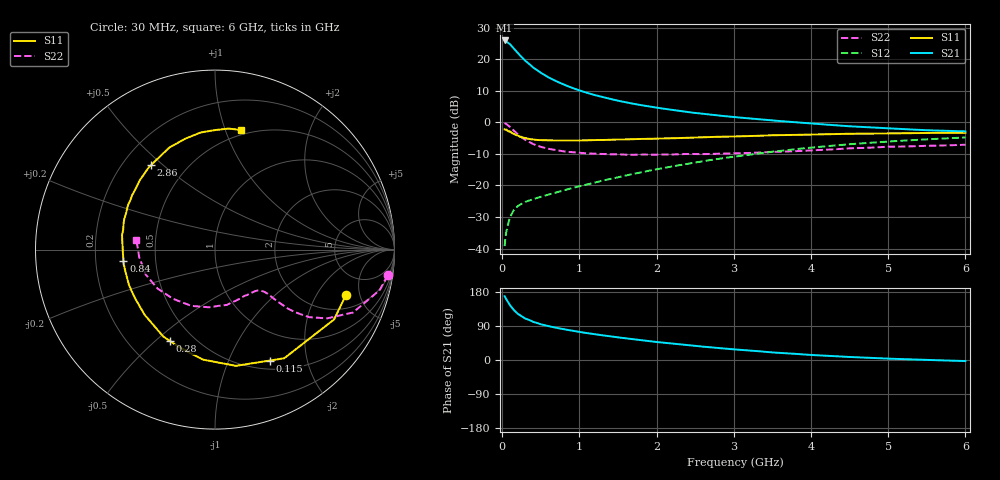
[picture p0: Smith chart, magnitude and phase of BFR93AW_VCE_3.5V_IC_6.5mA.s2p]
! Infineon Technologies  Discrete & RF Semiconductors
! BFR93AW
! VCE =  3.5 V,  IC =  6.5 mA
! Common Emitter S-Parameters:  Nov 2015
# GHz  S  MA  R  50
!  f  S11  S21  S12  S22
! GHz  MAG  ANG  MAG  ANG  MAG  ANG  MAG  ANG
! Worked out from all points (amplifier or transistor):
!   206 points, 30 MHz to 6 GHz, reference 50 ohm
!   highest |S21| = 25.9 dB at 30 MHz (marker M1)
!   |S21| within 3 dB of that: start of sweep to 165.6 MHz
!   unconditionally stable (mu >= 1): 868.1 MHz to 2.295 GHz
!   at 200 MHz: K = 0.37, MSG = 24.3 dB, |S12| = -26.6 dB
!   at 1.56 GHz: K = 1.08, MAG = 10.0 dB, |S12| = -17.1 dB
!   at 6 GHz: K = 0.93, MSG = 1.0 dB, |S12| = -4.8 dB
!   S11 on the Smith chart (normalised r, x): 30 MHz: 2.93, -3.69; 115 MHz: 0.61, -1.43; 280 MHz: 0.37, -0.56; 840 MHz: 0.32, -0.05; 2.86 GHz: 0.32, +0.46; 6 GHz: 0.46, +1.13
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0.03  0.7723 -19.2  19.76 168.3  0.0109 79.9  0.9725 -8.4
0.05  0.7692 -30.4  19.38 160.5  0.0179 75.3  0.9459 -13.7
0.055  0.7569 -32.9  19.1 159.0  0.0192 73.5  0.9345 -14.7
0.1  0.7179 -57.5  17.26 144.1  0.0312 64.2  0.8453 -24.5
0.115  0.6893 -63.7  16.41 140.7  0.0339 61.4  0.8109 -26.3
0.15  0.6581 -79.8  14.7 131.3  0.0407 56.4  0.7347 -31.4
0.2  0.6166 -96.3  12.55 122.1  0.047 51.4  0.647 -35.6
0.24  0.584 -107.2  11.1 116.4  0.0503 49.3  0.5894 -37.3
0.28  0.5674 -116.5  9.921 111.6  0.0534 48.2  0.5446 -38.5
0.3  0.5634 -120.8  9.381 109.2  0.055 47.9  0.5243 -39.0
0.4  0.5343 -137.3  7.368 100.7  0.0606 47.6  0.4516 -39.7
0.5  0.5212 -149.0  6.069 94.2  0.066 48.9  0.4065 -39.9
0.6  0.5185 -157.5  5.128 89.2  0.0716 50.8  0.3797 -40.0
0.84  0.5141 -173.2  3.764 79.6  0.0863 55.4  0.3413 -42.1
1.04  0.5157 177.4  3.08 72.8  0.0996 58.5  0.3258 -44.8
1.5  0.5332 161.5  2.192 59.7  0.1344 62.8  0.3105 -54.4
2.02  0.5526 146.6  1.687 47.1  0.1821 64.0  0.308 -68.4
2.86  0.5906 127.2  1.258 30.6  0.2701 60.5  0.3187 -92.0
3.1  0.5993 122.0  1.18 26.6  0.2957 58.6  0.3243 -99.4
4.1  0.6422 103.3  0.936 12.3  0.4072 48.4  0.3631 -133.5
5.1  0.6677 88.7  0.789 3.0  0.5041 36.2  0.4109 -163.0
6  0.6818 77.7  0.717 -2.8  0.575 25.3  0.441 173.2
